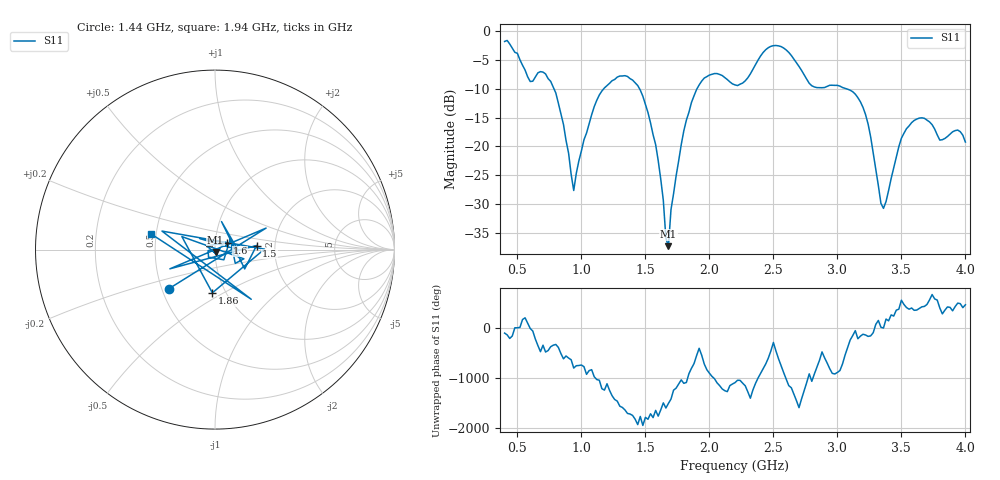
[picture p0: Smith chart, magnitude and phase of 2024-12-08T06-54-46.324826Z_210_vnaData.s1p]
!Created with skrf (http://scikit-rf.org).
# Hz S RI R 50.0
!freq ReS11 ImS11
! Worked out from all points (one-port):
!   181 points, 400 MHz to 4 GHz, reference 50 ohm
!   lowest |S11| = -37.4 dB at 1.68 GHz (marker M1), VSWR 1.03, Z = 50.3 - j1.32 ohm
!   |S11| at or under -10 dB: 786 MHz to 1.174 GHz (387.6 MHz wide, 39.6 % of centre); 1.455 GHz to 1.902 GHz (447.4 MHz wide, 26.7 % of centre); 3.074 GHz to end of sweep
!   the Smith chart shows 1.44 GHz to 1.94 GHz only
!   S11 on the Smith chart (normalised r, x): 1.44 GHz: 0.54, -0.27; 1.5 GHz: 1.60, +0.08; 1.6 GHz: 1.14, +0.08; 1.86 GHz: 0.87, -0.44; 1.94 GHz: 0.47, +0.10
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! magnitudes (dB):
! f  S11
! 400 MHz  -1.7
! 600 MHz  -8.7
! 720 MHz  -7.4
! 860 MHz  -16.2
! 940 MHz  -27.7
! 1.1 GHz  -13.1
! 1.3 GHz  -7.8
! 1.44 GHz  -9.4
! 1.5 GHz  -12.7
! 1.6 GHz  -22.5
! 1.66 GHz  -35.9
! 1.68 GHz  -37.4
! 1.7 GHz  -31.0
! 1.76 GHz  -22.5
! 1.86 GHz  -12.3
! 1.94 GHz  -8.6
! 2.2 GHz  -9.3
! 2.48 GHz  -2.6
! 2.66 GHz  -4.8
! 2.8 GHz  -9.5
! 3.1 GHz  -10.2
! 3.22 GHz  -14.5
! 3.36 GHz  -30.8
! 3.5 GHz  -18.6
! 3.56 GHz  -16.4
! 3.68 GHz  -15.1
! 3.8 GHz  -18.9
! 4 GHz  -19.2
